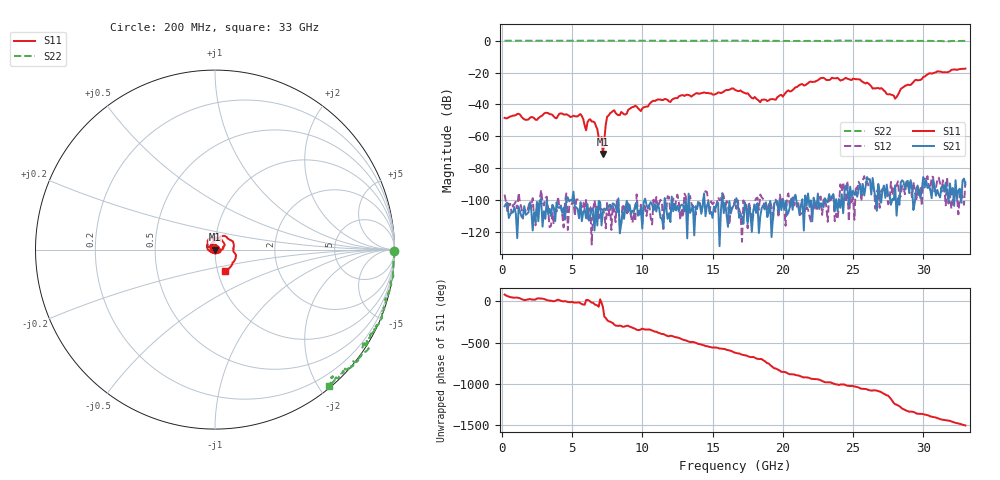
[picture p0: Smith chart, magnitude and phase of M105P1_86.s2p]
# GHZ S RI R 50
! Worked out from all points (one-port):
!   329 points, 200 MHz to 33 GHz, reference 50 ohm
!   lowest |S11| = -71.0 dB at 7.2 GHz (marker M1), VSWR 1.00, Z = 50 - j0.0264 ohm
!   |S11| at or under -10 dB: start of sweep to end of sweep
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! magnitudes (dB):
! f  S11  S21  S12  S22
! 200 MHz  -48.4  -103.9  -96.5  0.0
! 5.7 GHz  -47.2  -113.2  -104.4  0.0
! 6 GHz  -56.2  -111.4  -99.3  0.0
! 6.2 GHz  -49.7  -112.9  -103.8  0.0
! 6.6 GHz  -51.2  -119.0  -100.1  0.0
! 6.9 GHz  -60.9  -100.5  -111.5  0.0
! 7.1 GHz  -60.4  -115.9  -106.0  0.0
! 7.2 GHz  -71.0  -107.1  -105.9  0.0
! 7.5 GHz  -47.6  -104.5  -100.9  -0.1
! 7.7 GHz  -45.6  -103.0  -102.9  0.0
! 8.8 GHz  -46.2  -104.6  -102.7  0.0
! 9.5 GHz  -40.7  -102.9  -113.2  0.0
! 9.9 GHz  -44.1  -104.7  -102.9  0.0
! 11.2 GHz  -36.9  -105.3  -102.0  0.0
! 16.6 GHz  -30.8  -101.8  -99.6  0.0
! 18.4 GHz  -38.6  -110.2  -96.5  -0.1
! 22.1 GHz  -25.9  -113.2  -106.2  0.0
! 25.5 GHz  -24.3  -89.9  -90.5  0.0
! 27.6 GHz  -33.5  -97.1  -100.6  0.0
! 28 GHz  -36.3  -90.7  -91.7  0.0
! 30.4 GHz  -20.6  -91.1  -91.5  -0.1
! 33 GHz  -17.5  -90.3  -88.3  -0.1
